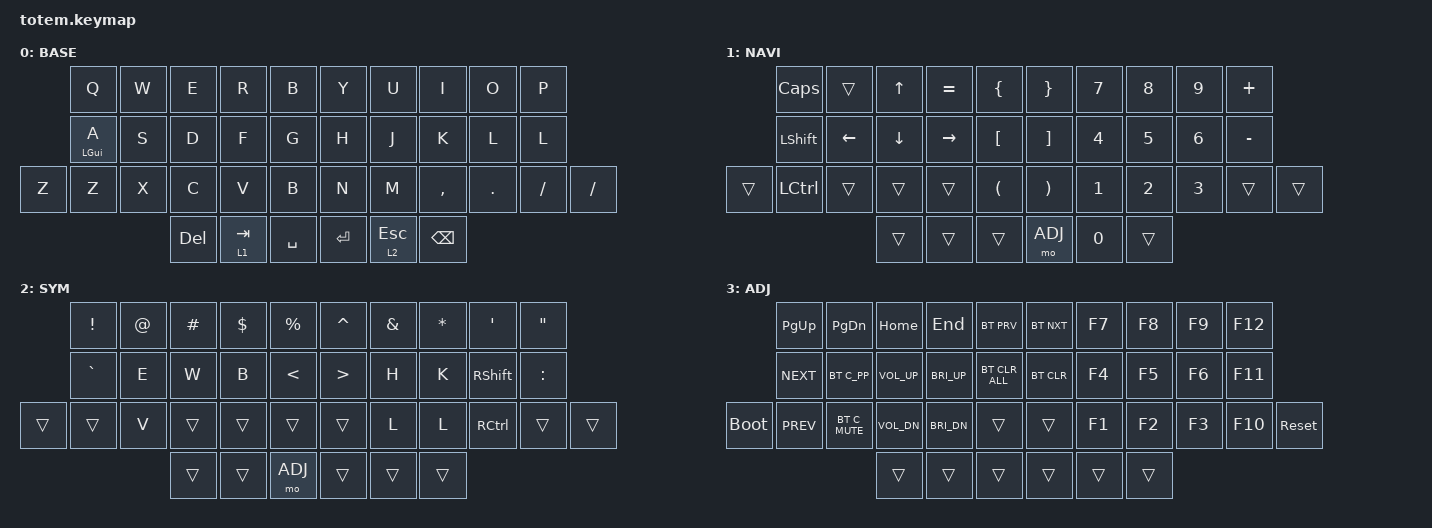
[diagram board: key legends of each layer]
//
//                                                        ▀▀▀▀▀     ▀▀▀▀▀          ▀▀█▀▀
//                                                        ▄▀▀▀▄  ▄  ▄▀▀▀▄  ▄  ▄▀▀▀▄  █  ▄▀▀▀▄
//                                                        █   █  █  █   █  █  █   █  █  █   █
//                                                         ▀▀▀   █   ▀▀▀   █   ▀▀▀   ▀   ▀▀▀
//                                                               █      ▄▄▄█▄▄▄    █   █  
//                                                               ▀      █  █  █     █▄█
//                                                             ▀▀▀▀▀    █  █  █      ▀
//                                                                      ▀  ▀  ▀
//
// ▄▄▄▄▄▄▄▄▄▄▄▄▄▄▄▄▄▄▄▄▄▄▄▄▄▄▄▄▄▄▄▄▄▄▄▄▄▄▄▄▄▄▄▄▄▄▄▄▄▄▄▄▄▄▄▄▄▄▄▄▄▄▄▄▄▄▄▄▄▄▄▄▄▄▄▄▄▄▄▄▄▄▄▄▄▄▄▄▄▄▄▄▄▄▄▄▄▄▄▄▄▄▄▄▄▄▄▄▄▄▄▄▄▄▄▄▄▄▄▄▄▄▄▄▄▄▄▄▄▄▄▄▄▄▄▄▄▄▄▄▄▄▄▄▄▄▄▄▄

#include <behaviors.dtsi>
#include <dt-bindings/zmk/bt.h>
#include <dt-bindings/zmk/keys.h>

#define BASE 0
#define NAV  1
#define SYM  2
#define ADJ  3

&mt {
    quick-tap-ms = <100>;
    global-quick-tap;
    flavor = "tap-preferred";
    tapping-term-ms = <170>;
};

/ {
    combos {
        compatible = "zmk,combos";

        combo_esc {
            timeout-ms = <50>;
            key-positions = <0 1>;
            bindings = <&kp ESC>;
        };
    };

    macros {
        gif: gif {
            label = "giphy";
            compatible = "zmk,behavior-macro";
            #binding-cells = <0>;
            bindings =
                <&macro_press>,
                <&kp LSHFT>,
                <&macro_tap>,
                <&kp N2>,
                <&macro_release>,
                <&kp LSHFT>,
                <&macro_tap>,
                <&kp G &kp I &kp F>;
        };
    };

    keymap {
        compatible = "zmk,keymap";

        // ▄▄▄▄▄▄▄▄▄▄▄▄▄▄▄▄▄▄▄▄▄▄▄▄▄▄▄▄▄▄▄▄▄▄▄▄▄▄▄▄▄▄▄▄▄▄▄▄▄▄▄▄▄▄▄▄▄▄▄▄▄▄▄▄▄▄▄▄▄▄▄▄▄▄▄▄▄▄▄▄▄▄▄▄▄▄▄▄▄▄▄▄▄▄▄▄▄▄▄▄▄▄▄▄▄▄▄▄▄▄▄▄▄▄▄▄▄▄▄▄▄▄▄▄▄▄▄▄▄▄▄▄▄▄▄▄▄▄▄▄▄▄▄▄▄▄▄▄▄

        base_layer {
            // ┏━━━━━━━━━━━━━━━━━━━━━━━━━━━━━━━━━━━━━━━┓

            label = "BASE";

            // ┗━━━━━━━━━━━━━━━━━━━━━━━━━━━━━━━━━━━━━━━┛
            //              ┏━━━━━━━━━━━┳━━━━━━━━━━━┳━━━━━━━━━━━┳━━━━━━━━━━━┳━━━━━━━━━━━┓   ┏━━━━━━━━━━━┳━━━━━━━━━━━┳━━━━━━━━━━━┳━━━━━━━━━━━┳━━━━━━━━━━━┓
            //              ┃     Q     ┃     W     ┃     F     ┃     P     ┃     B     ┃   ┃     J     ┃     L     ┃     U     ┃     Y     ┃     ;     ┃
            //              ┣━━━━━━━━━━━╋━━━━━━━━━━━╋━━━━━━━━━━━╋━━━━━━━━━━━╋━━━━━━━━━━━┫   ┣━━━━━━━━━━━╋━━━━━━━━━━━╋━━━━━━━━━━━╋━━━━━━━━━━━╋━━━━━━━━━━━┫
            //              ┃     A     ┃     R     ┃     S     ┃     T     ┃     G     ┃   ┃     M     ┃     N     ┃     E     ┃     I     ┃     O     ┃
            //  ┏━━━━━━━━━━━╋━━━━━━━━━━━╋━━━━━━━━━━━╋━━━━━━━━━━━╋━━━━━━━━━━━╋━━━━━━━━━━━┫   ┣━━━━━━━━━━━╋━━━━━━━━━━━╋━━━━━━━━━━━╋━━━━━━━━━━━╋━━━━━━━━━━━╋━━━━━━━━━━━┓
            //  ┃           ┃     Z     ┃     X     ┃     C     ┃     D     ┃     V     ┃   ┃     K     ┃     H     ┃     ,     ┃     .     ┃     /     ┃      \    ┃
            //  ┗━━━━━━━━━━━┻━━━━━━━━━━━┻━━━━━━━━━━━╋━━━━━━━━━━━╋━━━━━━━━━━━╋━━━━━━━━━━━┫   ┣━━━━━━━━━━━╋━━━━━━━━━━━╋━━━━━━━━━━━╋━━━━━━━━━━━┻━━━━━━━━━━━┻━━━━━━━━━━━┛
            //                                      ┃    DEL    ┃    TAB    ┃    SPC    ┃   ┃   ENTER   ┃     ESC   ┃    BSPC   ┃
            //                                      ┗━━━━━━━━━━━┻━━━━━━━━━━━┻━━━━━━━━━━━┛   ┗━━━━━━━━━━━┻━━━━━━━━━━━┻━━━━━━━━━━━┛

            bindings = <
       &kp Q       &kp W  &kp E       &kp R      &kp B        &kp Y       &kp U      &kp I      &kp O    &kp P
       &mt LGUI A  &kp S  &kp D       &kp F      &kp G        &kp H       &kp J      &kp K      &kp L    &kp L
&kp Z  &kp Z       &kp X  &kp C       &kp V      &kp B        &kp N       &kp M      &kp COMMA  &kp DOT  &kp FSLH  &kp FSLH
                          &kp DELETE  &lt 1 TAB  &kp SPACE    &kp RETURN  &lt 2 ESC  &kp BSPC
            >;
        };

        // ▄▄▄▄▄▄▄▄▄▄▄▄▄▄▄▄▄▄▄▄▄▄▄▄▄▄▄▄▄▄▄▄▄▄▄▄▄▄▄▄▄▄▄▄▄▄▄▄▄▄▄▄▄▄▄▄▄▄▄▄▄▄▄▄▄▄▄▄▄▄▄▄▄▄▄▄▄▄▄▄▄▄▄▄▄▄▄▄▄▄▄▄▄▄▄▄▄▄▄▄▄▄▄▄▄▄▄▄▄▄▄▄▄▄▄▄▄▄▄▄▄▄▄▄▄▄▄▄▄▄▄▄▄▄▄▄▄▄▄▄▄▄▄▄▄▄▄▄▄

        nav_layer {
            // ┏━━━━━━━━━━━━━━━━━━━━━━━━━━━━━━━━━━━━━━━┓

            label = "NAVI";

            // ┗━━━━━━━━━━━━━━━━━━━━━━━━━━━━━━━━━━━━━━━┛
            //              ┏━━━━━━━━━━━┳━━━━━━━━━━━┳━━━━━━━━━━━┳━━━━━━━━━━━┳━━━━━━━━━━━┓   ┏━━━━━━━━━━━┳━━━━━━━━━━━┳━━━━━━━━━━━┳━━━━━━━━━━━┳━━━━━━━━━━━┓
            //              ┃  C LOCK   ┃           ┃     UP    ┃     =     ┃     {     ┃   ┃     }     ┃     7     ┃     8     ┃     9     ┃     +     ┃
            //              ┣━━━━━━━━━━━╋━━━━━━━━━━━╋━━━━━━━━━━━╋━━━━━━━━━━━╋━━━━━━━━━━━┫   ┣━━━━━━━━━━━╋━━━━━━━━━━━╋━━━━━━━━━━━╋━━━━━━━━━━━╋━━━━━━━━━━━┫
            //              ┃   SHIFT   ┃   LEFT    ┃    DOWN   ┃   RIGHT   ┃     [     ┃   ┃     ]     ┃     4     ┃     5     ┃     6     ┃     -     ┃
            //  ┏━━━━━━━━━━━╋━━━━━━━━━━━╋━━━━━━━━━━━╋━━━━━━━━━━━╋━━━━━━━━━━━╋━━━━━━━━━━━┫   ┣━━━━━━━━━━━╋━━━━━━━━━━━╋━━━━━━━━━━━╋━━━━━━━━━━━╋━━━━━━━━━━━╋━━━━━━━━━━━┓
            //  ┃           ┃   CTRL    ┃           ┃           ┃           ┃     (     ┃   ┃     )     ┃     1     ┃     2     ┃     3     ┃     *     ┃           ┃
            //  ┗━━━━━━━━━━━┻━━━━━━━━━━━┻━━━━━━━━━━━╋━━━━━━━━━━━╋━━━━━━━━━━━╋━━━━━━━━━━━┫   ┣━━━━━━━━━━━╋━━━━━━━━━━━╋━━━━━━━━━━━╋━━━━━━━━━━━┻━━━━━━━━━━━┻━━━━━━━━━━━┛
            //                                      ┃           ┃           ┃           ┃   ┃    ADJ    ┃     0     ┃           ┃
            //                                      ┗━━━━━━━━━━━┻━━━━━━━━━━━┻━━━━━━━━━━━┛   ┗━━━━━━━━━━━┻━━━━━━━━━━━┻━━━━━━━━━━━┛

            bindings = <
        &kp CAPS   &trans    &kp UP    &kp EQUAL  &kp LBRC    &kp RBRC  &kp N7  &kp N8  &kp N9  &kp PLUS
        &kp LSHFT  &kp LEFT  &kp DOWN  &kp RIGHT  &kp LBKT    &kp RBKT  &kp N4  &kp N5  &kp N6  &kp MINUS
&trans  &kp LCTRL  &trans    &trans    &trans     &kp LPAR    &kp RPAR  &kp N1  &kp N2  &kp N3  &trans     &trans
                             &trans    &trans     &trans      &mo ADJ   &kp N0  &trans
            >;
        };

        // ▄▄▄▄▄▄▄▄▄▄▄▄▄▄▄▄▄▄▄▄▄▄▄▄▄▄▄▄▄▄▄▄▄▄▄▄▄▄▄▄▄▄▄▄▄▄▄▄▄▄▄▄▄▄▄▄▄▄▄▄▄▄▄▄▄▄▄▄▄▄▄▄▄▄▄▄▄▄▄▄▄▄▄▄▄▄▄▄▄▄▄▄▄▄▄▄▄▄▄▄▄▄▄▄▄▄▄▄▄▄▄▄▄▄▄▄▄▄▄▄▄▄▄▄▄▄▄▄▄▄▄▄▄▄▄▄▄▄▄▄▄▄▄▄▄▄▄▄▄

        sim_layer {
            // ┏━━━━━━━━━━━━━━━━━━━━━━━━━━━━━━━━━━━━━━━┓

            label = "SYM";

            // ┗━━━━━━━━━━━━━━━━━━━━━━━━━━━━━━━━━━━━━━━┛
            //              ┏━━━━━━━━━━━┳━━━━━━━━━━━┳━━━━━━━━━━━┳━━━━━━━━━━━┳━━━━━━━━━━━┓   ┏━━━━━━━━━━━┳━━━━━━━━━━━┳━━━━━━━━━━━┳━━━━━━━━━━━┳━━━━━━━━━━━┓
            //              ┃     !     ┃     @     ┃     #     ┃     $     ┃     %     ┃   ┃     ˆ     ┃     &     ┃     *     ┃     '     ┃     "     ┃
            //              ┣━━━━━━━━━━━╋━━━━━━━━━━━╋━━━━━━━━━━━╋━━━━━━━━━━━╋━━━━━━━━━━━┫   ┣━━━━━━━━━━━╋━━━━━━━━━━━╋━━━━━━━━━━━╋━━━━━━━━━━━╋━━━━━━━━━━━┫
            //              ┃     `     ┃     E     ┃     W     ┃     B     ┃     <     ┃   ┃     >     ┃    H      ┃    K      ┃   R_SHFT  ┃     :     ┃
            //  ┏━━━━━━━━━━━╋━━━━━━━━━━━╋━━━━━━━━━━━╋━━━━━━━━━━━╋━━━━━━━━━━━╋━━━━━━━━━━━┫   ┣━━━━━━━━━━━╋━━━━━━━━━━━╋━━━━━━━━━━━╋━━━━━━━━━━━╋━━━━━━━━━━━╋━━━━━━━━━━━┓
            //  ┃           ┃           ┃     V     ┃           ┃           ┃           ┃   ┃           ┃    L      ┃    J      ┃   RCTRL   ┃           ┃           ┃
            //  ┗━━━━━━━━━━━┻━━━━━━━━━━━┻━━━━━━━━━━━╋━━━━━━━━━━━╋━━━━━━━━━━━╋━━━━━━━━━━━┫   ┣━━━━━━━━━━━╋━━━━━━━━━━━╋━━━━━━━━━━━╋━━━━━━━━━━━┻━━━━━━━━━━━┻━━━━━━━━━━━┛
            //                                      ┃           ┃           ┃    ADJ    ┃   ┃           ┃           ┃           ┃
            //                                      ┗━━━━━━━━━━━┻━━━━━━━━━━━┻━━━━━━━━━━━┛   ┗━━━━━━━━━━━┻━━━━━━━━━━━┻━━━━━━━━━━━┛

            bindings = <
        &kp EXCL   &kp AT  &kp HASH  &kp DLLR  &kp PRCNT    &kp CARET  &kp AMPS  &kp STAR  &kp SQT    &kp DQT
        &kp GRAVE  &kp E   &kp W     &kp B     &kp LT       &kp GT     &kp H     &kp K     &kp RSHFT  &kp COLON
&trans  &trans     &kp V   &trans    &trans    &trans       &trans     &kp L     &kp L     &kp RCTRL  &trans     &trans
                           &trans    &trans    &mo ADJ      &trans     &trans    &trans
            >;
        };

        // ▄▄▄▄▄▄▄▄▄▄▄▄▄▄▄▄▄▄▄▄▄▄▄▄▄▄▄▄▄▄▄▄▄▄▄▄▄▄▄▄▄▄▄▄▄▄▄▄▄▄▄▄▄▄▄▄▄▄▄▄▄▄▄▄▄▄▄▄▄▄▄▄▄▄▄▄▄▄▄▄▄▄▄▄▄▄▄▄▄▄▄▄▄▄▄▄▄▄▄▄▄▄▄▄▄▄▄▄▄▄▄▄▄▄▄▄▄▄▄▄▄▄▄▄▄▄▄▄▄▄▄▄▄▄▄▄▄▄▄▄▄▄▄▄▄▄▄▄▄

        adjust_layer {
            // ┏━━━━━━━━━━━━━━━━━━━━━━━━━━━━━━━━━━━━━━━┓

            label = "ADJ";

            // ┗━━━━━━━━━━━━━━━━━━━━━━━━━━━━━━━━━━━━━━━┛
            //              ┏━━━━━━━━━━━┳━━━━━━━━━━━┳━━━━━━━━━━━┳━━━━━━━━━━━┳━━━━━━━━━━━┓    ┏━━━━━━━━━━━┳━━━━━━━━━━━┳━━━━━━━━━━━┳━━━━━━━━━━━┳━━━━━━━━━━━┓
            //              ┃   P UP    ┃  P DOWN   ┃  HOME     ┃    END    ┃  BT NEXT  ┃    ┃  BT PREV  ┃    F7     ┃    F8     ┃    F9     ┃    F12    ┃
            //              ┣━━━━━━━━━━━╋━━━━━━━━━━━╋━━━━━━━━━━━╋━━━━━━━━━━━╋━━━━━━━━━━━┫    ┣━━━━━━━━━━━╋━━━━━━━━━━━╋━━━━━━━━━━━╋━━━━━━━━━━━╋━━━━━━━━━━━┫
            //              ┃  K NEXT   ┃   K_PP    ┃  VOL UP   ┃   BR UP   ┃ BT CLRALL ┃    ┃  BT P CLR ┃    F4     ┃    F5     ┃    F6     ┃    F11    ┃
            //  ┏━━━━━━━━━━━╋━━━━━━━━━━━╋━━━━━━━━━━━╋━━━━━━━━━━━╋━━━━━━━━━━━╋━━━━━━━━━━━┫    ┣━━━━━━━━━━━╋━━━━━━━━━━━╋━━━━━━━━━━━╋━━━━━━━━━━━╋━━━━━━━━━━━╋━━━━━━━━━━━┓
            //  ┃ BOOTLOAD  ┃  K PREV   ┃  K_MUTE   ┃  VOL DOWN ┃  BR DOWN  ┃           ┃    ┃           ┃    F1     ┃    F2     ┃    F3     ┃    F10    ┃  SYS RST  ┃
            //  ┗━━━━━━━━━━━┻━━━━━━━━━━━┻━━━━━━━━━━━╋━━━━━━━━━━━╋━━━━━━━━━━━╋━━━━━━━━━━━┫    ┣━━━━━━━━━━━╋━━━━━━━━━━━╋━━━━━━━━━━━╋━━━━━━━━━━━┻━━━━━━━━━━━┻━━━━━━━━━━━┛
            //                                      ┃           ┃           ┃           ┃    ┃           ┃           ┃           ┃
            //                                      ┗━━━━━━━━━━━┻━━━━━━━━━━━┻━━━━━━━━━━━┛    ┗━━━━━━━━━━━┻━━━━━━━━━━━┻━━━━━━━━━━━┛

            bindings = <
             &kp PG_UP   &kp PG_DN   &kp HOME      &kp END       &bt BT_PRV        &bt BT_NXT  &kp F7  &kp F8  &kp F9  &kp F12
             &kp C_NEXT  &bt C_PP    &kp C_VOL_UP  &kp C_BRI_UP  &bt BT_CLR_ALL    &bt BT_CLR  &kp F4  &kp F5  &kp F6  &kp F11
&bootloader  &kp C_PREV  &bt C_MUTE  &kp C_VOL_DN  &kp C_BRI_DN  &trans            &trans      &kp F1  &kp F2  &kp F3  &kp F10  &sys_reset
                                     &trans        &trans        &trans            &trans      &trans  &trans
            >;
        };
    };
};
